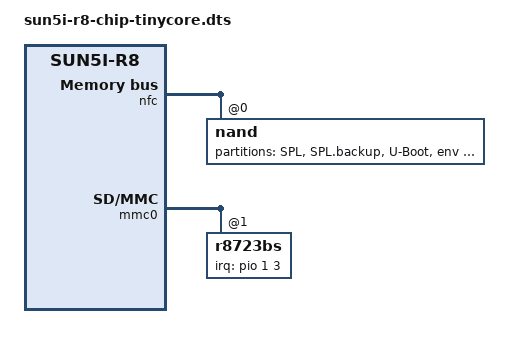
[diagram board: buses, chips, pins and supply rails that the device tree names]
#include "sun5i-r8-chip.dts"

/*
 * Mainline's CHIP DTB is enough for generic peripherals, but not for NAND boot:
 * the Linux kernel needs these fixed partitions so ubi.mtd=4 resolves to the
 * SLC-emulated rootfs volume written by x-chip-tools.
 */
&nfc {
	pinctrl-names = "default";
	pinctrl-0 = <&nand_pins &nand_cs0_pin &nand_rb0_pin>;
	status = "okay";

	nand@0 {
		#address-cells = <2>;
		#size-cells = <2>;
		reg = <0>;
		allwinner,rb = <0>;
		nand-ecc-mode = "hw";
		nand-ecc-maximize;
		nand-on-flash-bbt;

		partitions {
			compatible = "fixed-partitions";
			#address-cells = <2>;
			#size-cells = <2>;

			partition@0 {
				label = "SPL";
				reg = <0x0 0x00000000 0x0 0x00400000>;
			};

			partition@400000 {
				label = "SPL.backup";
				reg = <0x0 0x00400000 0x0 0x00400000>;
			};

			partition@800000 {
				label = "U-Boot";
				reg = <0x0 0x00800000 0x0 0x00400000>;
			};

			partition@c00000 {
				label = "env";
				reg = <0x0 0x00c00000 0x0 0x00400000>;
			};

			partition@1000000 {
				label = "rootfs";
				reg = <0x0 0x01000000 0x1 0xff000000>;
				slc-mode;
			};
		};
	};
};

&mmc0 {
	broken-cd;

	r8723bs: r8723bs@1 {
		reg = <1>;
		interrupt-parent = <&pio>;
		interrupts = <1 3 IRQ_TYPE_EDGE_FALLING>; /* PB3 / EINT17 */
		interrupt-names = "host-wake";
	};
};
